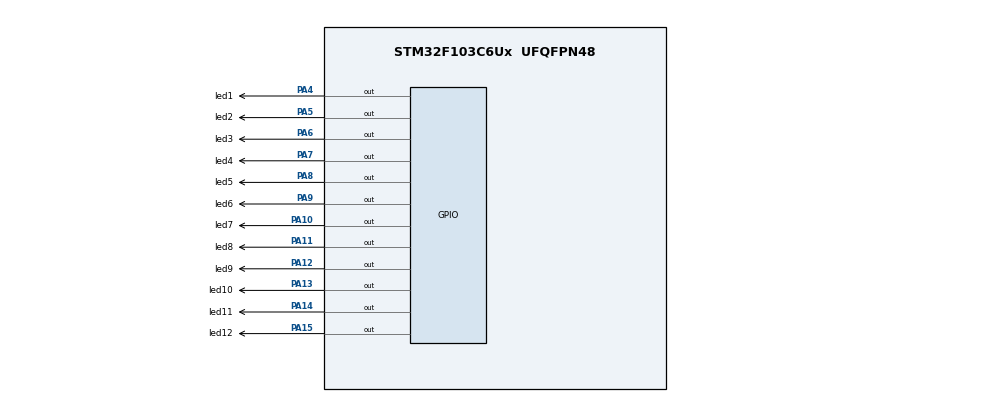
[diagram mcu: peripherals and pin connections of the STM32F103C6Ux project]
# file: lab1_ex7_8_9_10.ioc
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Mcu.Family=STM32F1
Mcu.Name=STM32F103C6Ux
Mcu.Package=UFQFPN48
NVIC.PriorityGroup=NVIC_PRIORITYGROUP_4
PA10.GPIO_Label=led7
PA10.Signal=GPIO_Output
PA11.GPIO_Label=led8
PA11.Signal=GPIO_Output
PA12.GPIO_Label=led9
PA12.Signal=GPIO_Output
PA13.GPIO_Label=led10
PA13.Signal=GPIO_Output
PA14.GPIO_Label=led11
PA14.Signal=GPIO_Output
PA15.GPIO_Label=led12
PA15.Signal=GPIO_Output
PA4.GPIO_Label=led1
PA4.Signal=GPIO_Output
PA5.GPIO_Label=led2
PA5.Signal=GPIO_Output
PA6.GPIO_Label=led3
PA6.Signal=GPIO_Output
PA7.GPIO_Label=led4
PA7.Signal=GPIO_Output
PA8.GPIO_Label=led5
PA8.Signal=GPIO_Output
PA9.GPIO_Label=led6
PA9.Signal=GPIO_Output
ProjectManager.HeapSize=0x200
ProjectManager.StackSize=0x400
ProjectManager.TargetToolchain=STM32CubeIDE
RCC.APB1Freq_Value=8000000
RCC.APB2Freq_Value=8000000
VP_SYS_VS_ND.Mode=No_Debug
board=custom

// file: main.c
/* USER CODE BEGIN Header */
/**
  ******************************************************************************
  * @file           : main.c
  * @brief          : Main program body
  ******************************************************************************
  * @attention
  *
  * <h2><center>&copy; Copyright (c) 2025 STMicroelectronics.
  * All rights reserved.</center></h2>
  *
  * This software component is licensed by ST under BSD 3-Clause license,
  * the "License"; You may not use this file except in compliance with the
  * License. You may obtain a copy of the License at:
  *                        opensource.org/licenses/BSD-3-Clause
  *
  ******************************************************************************
  */
/* USER CODE END Header */
#include "main.h"

void SystemClock_Config(void);
static void MX_GPIO_Init(void);

int main(void)
{

  /* MCU Configuration--------------------------------------------------------*/

  /* Reset of all peripherals, Initializes the Flash interface and the Systick. */
  HAL_Init();

  /* Configure the system clock */
  SystemClock_Config();

  /* Initialize all configured peripherals */
  MX_GPIO_Init();
  /* USER CODE BEGIN 2 */
  void clearAllClock() {
      HAL_GPIO_WritePin(GPIOA, GPIO_PIN_All, RESET);
  }

  void setNumberOnClock(int num) {
      if (num >= 1 && num <= 12) {
          int pinIndex = num + 3;
          HAL_GPIO_WritePin(GPIOA, (GPIO_PIN_0 << pinIndex), GPIO_PIN_SET);
      }
  }

  void clearNumberOnClock(int num) {
      if (num >= 1 && num <= 12) {
          int pinIndex = num + 3;
          HAL_GPIO_WritePin(GPIOA, (GPIO_PIN_0 << pinIndex), GPIO_PIN_RESET);
      }
  }

  void displayClock(int hour, int minute, int second) {
      clearAllClock();

      int h = hour % 12;
      if ( h == 0) h = 12;
      int m = minute  % 12;
      if (m==0) m = 12;
      int s = second % 12;
      if (s==0) s=12;

      setNumberOnClock(h);
      setNumberOnClock(m);
      setNumberOnClock(s);
  }
  /* USER CODE END 2 */

  /* Infinite loop */
  /* USER CODE BEGIN WHILE */

  int hour = 7, minute = 58, second = 40;
  while (1)
  {
    /* USER CODE END WHILE */
	  displayClock(hour, minute, second);

	          HAL_Delay(100);
	          second++;
	          if (second > 60) { second = 1; minute++; }
	          if (minute > 60) { minute = 1; hour++; }
	          if (hour > 12)   { hour = 1; }
  }
}

void SystemClock_Config(void)
{
  RCC_OscInitTypeDef RCC_OscInitStruct = {0};
  RCC_ClkInitTypeDef RCC_ClkInitStruct = {0};

  /** Initializes the RCC Oscillators according to the specified parameters
  * in the RCC_OscInitTypeDef structure.
  */
  RCC_OscInitStruct.OscillatorType = RCC_OSCILLATORTYPE_HSI;
  RCC_OscInitStruct.HSIState = RCC_HSI_ON;
  RCC_OscInitStruct.HSICalibrationValue = RCC_HSICALIBRATION_DEFAULT;
  RCC_OscInitStruct.PLL.PLLState = RCC_PLL_NONE;
  if (HAL_RCC_OscConfig(&RCC_OscInitStruct) != HAL_OK)
  {
    Error_Handler();
  }
  /** Initializes the CPU, AHB and APB buses clocks
  */
  RCC_ClkInitStruct.ClockType = RCC_CLOCKTYPE_HCLK|RCC_CLOCKTYPE_SYSCLK
                              |RCC_CLOCKTYPE_PCLK1|RCC_CLOCKTYPE_PCLK2;
  RCC_ClkInitStruct.SYSCLKSource = RCC_SYSCLKSOURCE_HSI;
  RCC_ClkInitStruct.AHBCLKDivider = RCC_SYSCLK_DIV1;
  RCC_ClkInitStruct.APB1CLKDivider = RCC_HCLK_DIV1;
  RCC_ClkInitStruct.APB2CLKDivider = RCC_HCLK_DIV1;

  if (HAL_RCC_ClockConfig(&RCC_ClkInitStruct, FLASH_LATENCY_0) != HAL_OK)
  {
    Error_Handler();
  }
}

static void MX_GPIO_Init(void)
{
  GPIO_InitTypeDef GPIO_InitStruct = {0};

  /* GPIO Ports Clock Enable */
  __HAL_RCC_GPIOA_CLK_ENABLE();

  /*Configure GPIO pin Output Level */
  HAL_GPIO_WritePin(GPIOA, led1_Pin|led2_Pin|led3_Pin|led4_Pin
                          |led5_Pin|led6_Pin|led7_Pin|led8_Pin
                          |led9_Pin|led10_Pin|led11_Pin|led12_Pin, GPIO_PIN_RESET);

  /*Configure GPIO pins : led1_Pin led2_Pin led3_Pin led4_Pin
                           led5_Pin led6_Pin led7_Pin led8_Pin
                           led9_Pin led10_Pin led11_Pin led12_Pin */
  GPIO_InitStruct.Pin = led1_Pin|led2_Pin|led3_Pin|led4_Pin
                          |led5_Pin|led6_Pin|led7_Pin|led8_Pin
                          |led9_Pin|led10_Pin|led11_Pin|led12_Pin;
  GPIO_InitStruct.Mode = GPIO_MODE_OUTPUT_PP;
  GPIO_InitStruct.Pull = GPIO_NOPULL;
  GPIO_InitStruct.Speed = GPIO_SPEED_FREQ_LOW;
  HAL_GPIO_Init(GPIOA, &GPIO_InitStruct);

}

void Error_Handler(void)
{
  __disable_irq();
  while (1)
  {
  }
}

/************************ (C) COPYRIGHT STMicroelectronics *****END OF FILE****/
